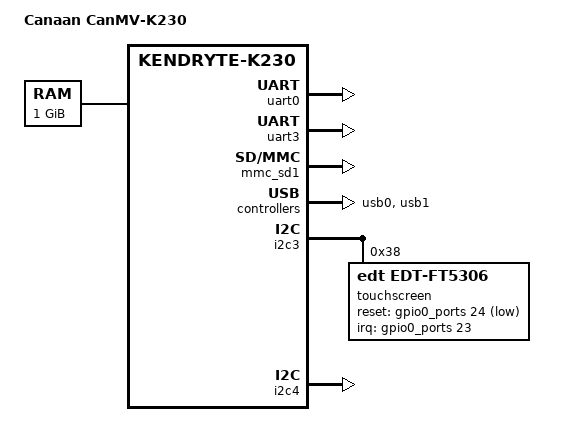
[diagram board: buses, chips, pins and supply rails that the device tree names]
// SPDX-License-Identifier: GPL-2.0 OR MIT
/*
 * Copyright (C) 2024 Yangyu Chen <cyy@cyyself.name>
 */

#include "k230.dtsi"
#include "display-st7701-480x800.dtsi"

/ {
	model = "Canaan CanMV-K230";
	compatible = "canaan,canmv-k230", "canaan,kendryte-k230";

	aliases {
		serial3 = &uart3;
		mmc0 = &mmc_sd0;
		mmc1 = &mmc_sd1;
		i2c0 = &i2c4;
		i2c1 = &i2c3;
	};

	chosen {
		stdout-path = "serial0:115200n8";
	};

	ddr: memory@0 {
		device_type = "memory";
		reg = <0x0 0x0 0x0 0x40000000>;
	};

	sound {
		status                      = "okay";
		compatible                  = "canaan,k230-audio-inno";
		canaan,model                = "K230_I2S_INNO";
		canaan,k230-i2s-controller  = <&i2s>;
		canaan,k230-audio-codec     = <&inno_codec>;
	};
};

&uart0 {
	status = "okay";
};
&uart3 {
	status = "okay";
};
&mmc_sd1{
	status = "okay";
	no-1-8-v;
	cap-sd-highspeed;
	mshc_ctrl_r = <0x00>;
};

&usb0 {
	status = "okay";
};
&usb1 {
	status = "okay";
};

&i2c3 {
	status = "okay";
	touchscreen@38 {
		compatible = "edt,edt-ft5306";
		reg = <0x38>;
		reset-gpios = <&gpio0_ports 24 GPIO_ACTIVE_LOW>;
		interrupt-parent = <&gpio0_ports>;
		interrupts = <23 IRQ_TYPE_EDGE_FALLING>;
	};
};

&i2c4 {
	status = "okay";
};

&mipi0
{
	// set to csi2
	id = <2>;
	reg = <0x0 0x9000a800 0x0 0x800>;
	interrupts = <121 IRQ_TYPE_LEVEL_HIGH>;
	resets = <&sysctl_reset K230_RESET_CSI2_REG_OFFSET K230_RESET_CSI2_TYPE
			  K230_RESET_CSI2_DONE_BIT K230_RESET_CSI2_ASSERT_BIT>,
	<&sysctl_reset K230_RESET_M2_REG_OFFSET K230_RESET_M2_TYPE
		 K230_RESET_M2_DONE_BIT K230_RESET_M2_ASSERT_BIT>;
};


&lcd {
	dsi_reset-gpios = <&gpio0_ports 22 GPIO_ACTIVE_HIGH>;
	backlight_gpio-gpios = <&gpio0_ports 25 GPIO_ACTIVE_HIGH>;
};
